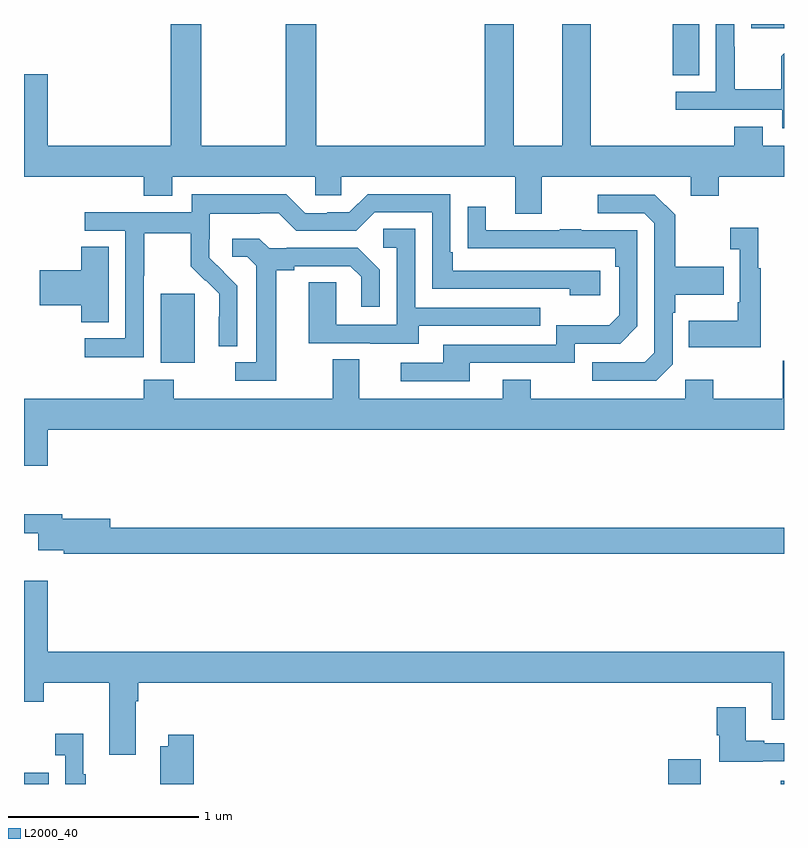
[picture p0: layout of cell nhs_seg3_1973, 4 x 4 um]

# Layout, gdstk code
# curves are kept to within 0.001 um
import gdstk
lib = gdstk.Library(unit=1e-6, precision=1e-09)
def R(c, l, rs):  # rectangles x0, y0, x1, y1
    for r in rs: c.add(gdstk.rectangle(r[:2], r[2:], *l))
def P(c, l, *ps):  # polygons
    for p in ps: c.add(gdstk.Polygon(p, *l))
L2000_40 = (2000, 40)

nhs_seg3_1973 = lib.new_cell('nhs_seg3_1973')
R(nhs_seg3_1973, L2000_40, [(213,684.4,213.131,684.459), (216.392,684.4,216.562,684.529), (216.983,684.4,217,684.418), (213.719,686.618,213.898,686.979), (216.415,688.129,216.553,688.4), (216.827,688.377,217,688.4)])
P(nhs_seg3_1973, L2000_40, [(215.725,687.596),(216.509,687.596),(216.509,687.497),(216.657,687.497),(216.657,687.596),(217,687.596),(217,687.76),(216.889,687.76),(216.889,687.859),(216.737,687.859),(216.737,687.76),(215.982,687.76),(215.982,688.4),(215.834,688.4),(215.834,687.76),(215.578,687.76),(215.578,688.4),(215.426,688.4),(215.426,687.76),(214.538,687.76),(214.538,688.4),(214.378,688.4),(214.378,687.76),(213.933,687.76),(213.933,688.4),(213.773,688.4),(213.773,687.76),(213.124,687.76),(213.124,688.135),(213,688.135),(213,687.596),(213.629,687.596),(213.629,687.497),(213.781,687.497),(213.781,687.596),(214.533,687.596),(214.533,687.498),(214.671,687.498),(214.671,687.596),(215.585,687.596),(215.585,687.402),(215.725,687.402)],
  [(217,688.246),(216.985,688.231),(216.985,688.057),(216.741,688.057),(216.741,688.28),(216.738,688.28),(216.738,688.4),(216.642,688.4),(216.642,688.044),(216.429,688.044),(216.429,687.948),(216.99,687.948),(216.99,687.851),(217,687.851)],
  [(213.63,687.076),(213.633,687.076),(213.633,687.3),(213.877,687.3),(213.877,687.125),(213.954,687.048),(213.957,687.051),(214.028,686.981),(214.028,686.858),(214.026,686.858),(214.026,686.704),(214.122,686.704),(214.122,687.022),(213.976,687.17),(213.976,687.267),(213.978,687.267),(213.978,687.401),(214.241,687.401),(214.241,687.405),(214.341,687.405),(214.434,687.312),(214.749,687.312),(214.845,687.408),(215.148,687.408),(215.148,687.006),(215.873,687.006),(215.873,686.972),(216.034,686.972),(216.034,687.102),(215.257,687.102),(215.257,687.199),(215.244,687.199),(215.244,687.504),(214.809,687.504),(214.713,687.408),(214.595,687.408),(214.595,687.405),(214.479,687.405),(214.379,687.505),(213.882,687.505),(213.882,687.408),(213.321,687.408),(213.321,687.312),(213.534,687.312),(213.534,686.745),(213.321,686.745),(213.321,686.647),(213.63,686.647)],
  [(216.414,686.61),(216.414,686.879),(216.427,686.879),(216.427,686.975),(216.683,686.975),(216.683,687.123),(216.427,687.123),(216.427,687.395),(216.321,687.501),(216.021,687.501),(216.021,687.405),(216.264,687.405),(216.318,687.351),(216.318,686.67),(216.267,686.619),(215.991,686.619),(215.991,686.523),(216.327,686.523)],
  [(215.347,686.616),(215.898,686.616),(215.898,686.718),(216.138,686.718),(216.228,686.808),(216.228,687.315),(215.933,687.315),(215.933,687.32),(215.821,687.32),(215.821,687.315),(215.431,687.315),(215.431,687.439),(215.335,687.439),(215.335,687.22),(216.112,687.219),(216.112,687.122),(216.132,687.122),(216.132,686.868),(216.079,686.815),(215.802,686.815),(215.802,686.712),(215.207,686.712),(215.207,686.616),(214.983,686.616),(214.983,686.52),(215.347,686.52)],
  [(216.877,687.115),(216.865,687.115),(216.865,687.328),(216.717,687.328),(216.717,687.215),(216.768,687.215),(216.768,686.935),(216.756,686.935),(216.756,686.839),(216.499,686.839),(216.499,686.699),(216.877,686.699)],
  [(215.077,686.811),(215.717,686.811),(215.717,686.907),(215.058,686.907),(215.058,687.323),(214.89,687.323),(214.89,687.222),(214.962,687.222),(214.962,686.817),(214.644,686.817),(214.644,687.041),(214.499,687.041),(214.499,686.721),(214.823,686.721),(214.823,686.717),(215.077,686.717)],
  [(214.327,687.104),(214.423,687.104),(214.423,687.126),(214.718,687.126),(214.775,687.069),(214.775,686.913),(214.872,686.913),(214.872,687.106),(214.756,687.222),(214.384,687.222),(214.384,687.219),(214.29,687.219),(214.238,687.271),(214.095,687.271),(214.095,687.174),(214.176,687.174),(214.223,687.127),(214.223,686.619),(214.113,686.619),(214.113,686.523),(214.327,686.523)],
  [(213.445,687.227),(213.302,687.227),(213.302,687.104),(213.084,687.104),(213.084,686.921),(213.302,686.921),(213.302,686.83),(213.445,686.83)],
  [(213.124,686.264),(217,686.264),(217,686.627),(216.994,686.627),(216.994,686.428),(216.627,686.428),(216.627,686.527),(216.48,686.527),(216.48,686.428),(215.667,686.428),(215.667,686.527),(215.519,686.527),(215.519,686.428),(214.765,686.428),(214.765,686.636),(214.625,686.636),(214.625,686.428),(213.789,686.428),(213.789,686.527),(213.629,686.527),(213.629,686.428),(213,686.428),(213,686.076),(213.124,686.076)],
  [(217,685.748),(213.454,685.748),(213.454,685.797),(213.202,685.797),(213.202,685.821),(213,685.821),(213,685.72),(213.074,685.72),(213.074,685.631),(213.208,685.631),(213.208,685.612),(217,685.612)],
  [(213.589,684.836),(213.602,684.836),(213.602,684.932),(216.935,684.932),(216.935,684.738),(217,684.738),(217,685.096),(213.124,685.096),(213.124,685.471),(213,685.471),(213,684.833),(213.105,684.833),(213.105,684.932),(213.449,684.932),(213.449,684.555),(213.589,684.555)],
  [(216.887,684.519),(217,684.519),(217,684.615),(216.895,684.615),(216.895,684.628),(216.799,684.628),(216.799,684.805),(216.647,684.805),(216.647,684.657),(216.659,684.657),(216.659,684.518),(216.887,684.518)],
  [(213.325,684.451),(213.313,684.451),(213.313,684.664),(213.165,684.664),(213.165,684.551),(213.216,684.551),(213.216,684.4),(213.325,684.4)],
  [(213.893,684.658),(213.758,684.658),(213.758,684.598),(213.718,684.598),(213.718,684.4),(213.893,684.4)])

lib.write_gds('nhs_seg3_1973.gds')
